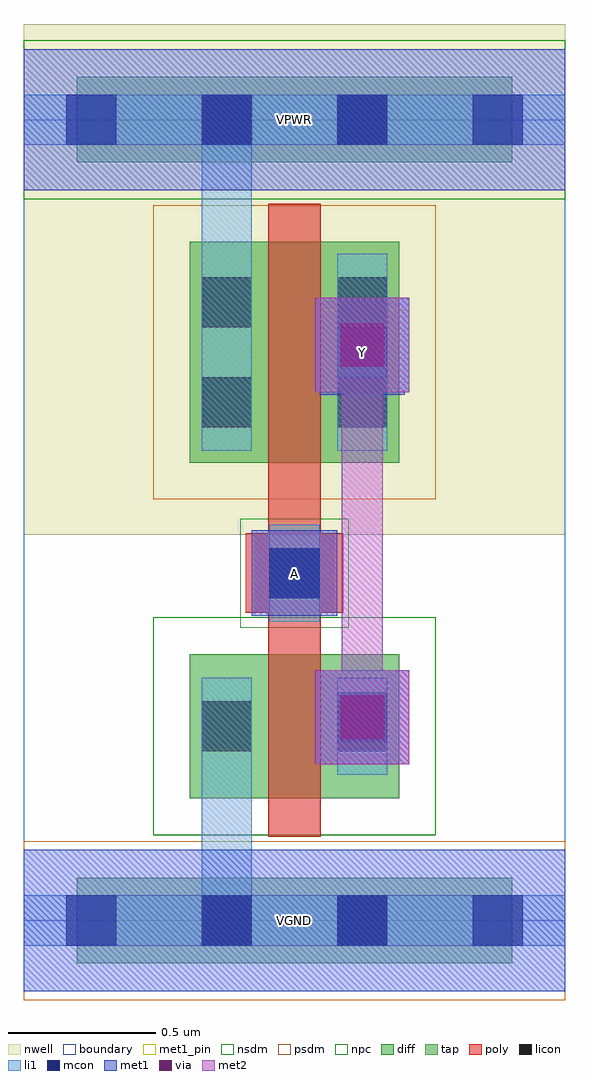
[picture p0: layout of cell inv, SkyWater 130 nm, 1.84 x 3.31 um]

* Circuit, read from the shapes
.subckt inv A VGND VPWR Y
XM1 Y A VGND VGND sky130_fd_pr__nfet_01v8 w=0.49 l=0.18
XM2 Y A VPWR VPWR sky130_fd_pr__pfet_01v8 w=0.75 l=0.18
.ends

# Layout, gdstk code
import gdstk
lib = gdstk.Library(unit=1e-6, precision=1e-09)
def R(c, l, rs):  # rectangles x0, y0, x1, y1
    for r in rs: c.add(gdstk.rectangle(r[:2], r[2:], *l))
def A(c, l, x, y, w, h, nx, ny, dx, dy):  # array of equal rectangles
    R(c, l, [(x+i*dx, y+j*dy, x+i*dx+w, y+j*dy+h) for i in range(nx) for j in range(ny)])
nwell = (64, 20)
diff = (65, 20)
tap = (65, 44)
poly = (66, 20)
licon = (66, 44)
li1 = (67, 20)
mcon = (67, 44)
met1_pin = (68, 16)
met1 = (68, 20)
via = (68, 44)
met2 = (69, 20)
nsdm = (93, 44)
psdm = (94, 20)
npc = (95, 20)
boundary = (235, 4)

inv = lib.new_cell('inv')
R(inv, nwell, [(0,1.31,1.84,3.045)])
R(inv, diff, [(0.565,0.415,1.275,0.905), (0.565,1.555,1.275,2.305)])
R(inv, tap, [(0.18,-0.145,1.66,0.145), (0.18,2.575,1.66,2.865)])
R(inv, poly, [(0.83,0.285,1.01,2.435), (0.755,1.045,1.085,1.315)])
R(inv, licon, [(0.605,-0.085,0.775,0.085), (1.065,-0.085,1.235,0.085), (0.605,0.575,0.775,0.745), (1.065,0.575,1.235,0.745), (0.835,1.095,1.005,1.265), (0.605,1.675,0.775,1.845), (1.065,1.675,1.235,1.845), (0.605,2.015,0.775,2.185), (1.065,2.015,1.235,2.185), (0.605,2.635,0.775,2.805), (1.065,2.635,1.235,2.805)])
R(inv, li1, [(0,-0.085,1.84,0.085), (0.605,-0.085,0.775,0.825), (0.605,0.495,0.775,0.825), (1.065,0.495,1.235,0.825), (0.835,1.015,1.005,1.345), (0.605,1.595,0.775,2.265), (0.605,1.595,0.775,2.805), (1.065,1.595,1.235,2.265), (0,2.635,1.84,2.805)])
A(inv, mcon, 0.145, -0.085, 0.17, 0.17, 4, 2, 0.46, 2.72)
R(inv, mcon, [(1.065,0.605,1.235,0.775), (0.835,1.095,1.005,1.265), (1.065,1.845,1.235,2.015)])
R(inv, met1_pin, [(0,-0.24,1.84,0.24), (0.775,1.035,1.065,1.325), (1.005,1.785,1.295,2.075), (0,2.48,1.84,2.96)])
R(inv, met1, [(0,-0.24,1.84,0.24), (0.99,0.53,1.31,0.85), (1.005,0.545,1.295,0.835), (0.775,1.035,1.065,1.325), (1.005,1.785,1.295,2.075), (0.99,1.795,1.31,2.115), (1.08,1.885,1.22,2.025), (0,2.48,1.84,2.96)])
R(inv, via, [(1.075,0.615,1.225,0.765), (1.075,1.88,1.225,2.03)])
R(inv, met2, [(0.99,0.53,1.31,0.85), (1.08,0.62,1.22,2.025), (0.99,1.795,1.31,2.115)])
R(inv, nsdm, [(0.44,0.29,1.4,1.03), (0,2.45,1.84,2.99)])
R(inv, psdm, [(0,-0.27,1.84,0.27), (0.44,1.43,1.4,2.43)])
R(inv, npc, [(0.735,0.995,1.105,1.365)])
R(inv, boundary, [(0,0,1.84,2.72)])
inv.add(gdstk.Label('A', (0.92,1.18), layer=68, texttype=5))
inv.add(gdstk.Label('Y', (1.15,1.93), layer=68, texttype=5))
inv.add(gdstk.Label('VPWR', (0.92,2.72), layer=68, texttype=5))
inv.add(gdstk.Label('VGND', (0.92,0), layer=68, texttype=5))
inv.add(gdstk.Label('A', (0.92,1.18), layer=68, texttype=16))
inv.add(gdstk.Label('Y', (1.15,1.93), layer=68, texttype=16))
inv.add(gdstk.Label('VPWR', (0.92,2.72), layer=68, texttype=16))
inv.add(gdstk.Label('VGND', (0.92,0), layer=68, texttype=16))

lib.write_gds('inv.gds')
